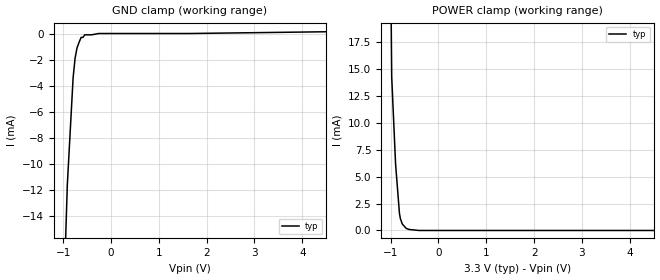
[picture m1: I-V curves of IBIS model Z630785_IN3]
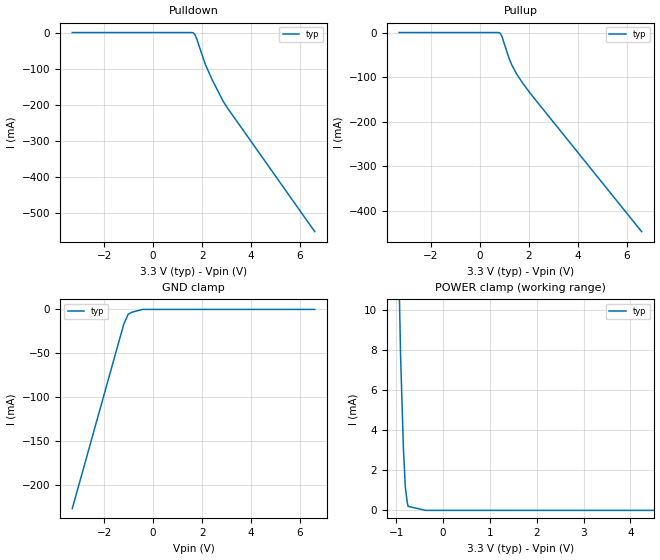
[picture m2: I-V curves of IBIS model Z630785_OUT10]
| YOU ARE ONLY AUTHORIZED TO USE THIS SOFTWARE
| ACCORDING TO LICENSOR'S LICENSE RESTRICTIONS.
[IBIS Ver] 3.1
[File Name] mc100lve310fn_33.ibs
[File Rev] 1
[Source]Derived from mc100lve210fn_33.ibs Measured and created by ICX Technology
[Date] 2/11/2004
[Copyright]
| (C) COPYRIGHT 1993-2000
| MENTOR GRAPHICS CORPORATION
| ICX STANDARD LIBRARY, ICX PROJECT MODELING,
| ICX CUSTOM MODELING, ICX VENDOR MODEL
| ALL RIGHTS RESERVED.
| THE FOLLOWING ARE TRADEMARKS OR SERVICE MARKS OF
| MENTOR GRAPHICS CORPORATION:ICX (R), ICX STANDARD
| LIBRARY(R), ICX PROJECT MODELING(R), ICX CUSTOM
| MODELING(R), qualityIBIS(TM), MODELVIEWER(TM),
| AND MODELEDITOR(TM)
| ALL COPIES OF SOFTWARE, INCLUDING BUT NOT LIMITED TO
| ANY MODIFICATIONS, ENHANCEMENTS OR DERIVATIVE WORKS,
| MUST CONTAIN ALL MENTOR GRAPHICS CORPORATION'S
| NOTICES AND LEGENDS, INCLUDING THOSE EMBEDDED IN
| SOFTWARE AND THOSE AFFIXED TO SOFTWARE MEDIUM
| AND CONTAINER, AS RECEIVED FROM MENTOR GRAPHICS
| CORPORATION.
|  ZAP Model Builder 2.8
[Component] MC100LVE310FN_33
[Manufacturer] ON
[Package]
| variable   typ   min   max
R_pkg  .083ohms NA NA
L_pkg  4.299nH NA NA
C_pkg  1.045pF NA NA
[Pin] signal_name  model_name  R_pin  L_pin C_pin
1 VCC POWER .08 3.94n .925p
2 _CLKA Z630785_IN3 .082 4.14n .995p
3 VBB POWER .084 4.354n 1.065p
4 CLKB Z630785_IN3 .084 4.354n 1.065p
5 _CLKB Z630785_IN3 .086 4.583n 1.135p
6 NC NC
7 _Q7 Z630785_OUT10 .086 4.583n 1.135p
8 VCCO POWER .08 3.94n .925p
9 Q7 Z630785_OUT10 .084 4.354n 1.065p
10 _Q6 Z630785_OUT10 .086 4.583n 1.135p
11 Q6 Z630785_OUT10 .084 4.354n 1.065p
12 _Q5 Z630785_OUT10 .086 4.583n 1.135p
13 Q5 Z630785_OUT10 .084 4.354n 1.065p
14 _Q4 Z630785_OUT10 .086 4.583n 1.135p
15 VCCO POWER .08 3.94n .925p
16 Q4 Z630785_OUT10 .084 4.354n 1.065p
17 _Q3 Z630785_OUT10 .086 4.583n 1.135p
18 Q3 Z630785_OUT10 .084 4.354n 1.065p
19 _Q2 Z630785_OUT10 .086 4.583n 1.135p
20 Q2 Z630785_OUT10 .084 4.354n 1.065p
21 _Q1 Z630785_OUT10 .086 4.583n 1.135p
22 VCCO POWER .08 3.94n .925p
23 Q1 Z630785_OUT10 .084 4.354n 1.065p
24 _Q0 Z630785_OUT10 .086 4.583n 1.135p
25 Q0 Z630785_OUT10 .084 4.354n 1.065p
26 VEE POWER .086 4.583n 1.135p
27 CLK_SEL Z630785_IN3 .082 4.14n .995p
28 CLKA Z630785_IN3 .082 4.14n .995p
[Diff Pin] inv_pin vdiff tdelay_typ tdelay_min tdelay_max
28 2 500mv NA NA NA
5 4 500mv NA NA NA
9 7 NA .05ns NA .075ns
11 10 NA .05ns NA .075ns
13 12 NA .05ns NA .075ns
16 14 NA .05ns NA .075ns
18 17 NA .05ns NA .075ns
20 19 NA .05ns NA .075ns
23 21 NA .05ns NA .075ns
25 24 NA .05ns NA .075ns
| Models and submodels in the file (2): Z630785_IN3 (Input_ECL), Z630785_OUT10 (Output_ECL)
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| (C) COPYRIGHT 1993-2000
| MENTOR GRAPHICS CORPORATION
| ICX STANDARD LIBRARY, ICX PROJECT MODELING,
| ICX CUSTOM MODELING, ICX VENDOR MODEL
| ALL RIGHTS RESERVED.
| THE FOLLOWING ARE TRADEMARKS OR SERVICE MARKS OF
| MENTOR GRAPHICS CORPORATION:ICX (R), ICX STANDARD
| LIBRARY(R), ICX PROJECT MODELING(R), ICX CUSTOM
| MODELING(R), qualityIBIS(TM), MODELVIEWER(TM),
| AND MODELEDITOR(TM)
| ALL COPIES OF SOFTWARE, INCLUDING BUT NOT LIMITED TO
| ANY MODIFICATIONS, ENHANCEMENTS OR DERIVATIVE WORKS,
| MUST CONTAIN ALL MENTOR GRAPHICS CORPORATION'S
| NOTICES AND LEGENDS, INCLUDING THOSE EMBEDDED IN
| SOFTWARE AND THOSE AFFIXED TO SOFTWARE MEDIUM
| AND CONTAINER, AS RECEIVED FROM MENTOR GRAPHICS
| CORPORATION.
| Model Application Version 1.89 2/18/99.
[Model] Z630785_IN3
Model_type Input_ECL
Vinl = 1.825V
Vinh = 2.135V
C_comp 3.000pF NA NA
| variable typ   min   max
[Voltage Range] 3.300V NA NA
[GND Clamp Reference] 0.000V NA NA
[POWER Clamp Reference] 3.300V NA NA
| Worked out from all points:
|   GND clamp passes 1 mA (typ) near -0.70 V on its own axis
|   POWER clamp passes 1 mA (typ) near -0.79 V on its own axis
[GND Clamp]
-3.3V     -370.8mA   NA         NA
-1.034V   -25.9mA    NA         NA
-912mV    -11.6mA    NA         NA
-791mV    -3.4mA     NA         NA
-750mV    -1.9mA     NA         NA
-709mV    -1.1mA     NA         NA
-669mV    -700uA     NA         NA
-623.3mV  -300uA     NA         NA
-585.2mV  -300uA     NA         NA
-547.2mV  -100uA     NA         NA
-258.5mV  0A         NA         NA
6.6V      233uA      NA         NA
[POWER Clamp]
-3.3V     954.5mA    NA         NA
-1.098V   73.77mA    NA         NA
-977mV    14.28mA    NA         NA
-896mV    6.18mA     NA         NA
-815mV    1.584mA    NA         NA
-795mV    1.085mA    NA         NA
-754mV    586.7uA    NA         NA
-673mV    190.5uA    NA         NA
-612mV    93.33uA    NA         NA
-408mV    0A         NA         NA
6.6V      0A         NA         NA
| (C) COPYRIGHT 1993-2000
| MENTOR GRAPHICS CORPORATION
| ICX STANDARD LIBRARY, ICX PROJECT MODELING,
| ICX CUSTOM MODELING, ICX VENDOR MODEL
| ALL RIGHTS RESERVED.
| THE FOLLOWING ARE TRADEMARKS OR SERVICE MARKS OF
| MENTOR GRAPHICS CORPORATION:ICX (R), ICX STANDARD
| LIBRARY(R), ICX PROJECT MODELING(R), ICX CUSTOM
| MODELING(R), qualityIBIS(TM), MODELVIEWER(TM),
| AND MODELEDITOR(TM)
| ALL COPIES OF SOFTWARE, INCLUDING BUT NOT LIMITED TO
| ANY MODIFICATIONS, ENHANCEMENTS OR DERIVATIVE WORKS,
| MUST CONTAIN ALL MENTOR GRAPHICS CORPORATION'S
| NOTICES AND LEGENDS, INCLUDING THOSE EMBEDDED IN
| SOFTWARE AND THOSE AFFIXED TO SOFTWARE MEDIUM
| AND CONTAINER, AS RECEIVED FROM MENTOR GRAPHICS
| CORPORATION.
| Model Application Version 1.89 2/18/99.
[Model] Z630785_OUT10
Model_type Output_ECL
Vref=1.300V
Rref=50.00ohms
Cref=0.000F
Vmeas=1.977V
C_comp 3.000pF NA NA
| variable typ   min   max
[Voltage Range] 3.300V NA NA
[POWER Clamp Reference] 3.300V NA NA
[Pullup Reference] 3.300V NA NA
[Pulldown Reference] 3.300V NA NA
[GND Clamp Reference] 0.000V NA NA
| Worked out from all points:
|   POWER clamp passes 1 mA (typ) near -0.80 V on its own axis
[GND Clamp]
-3.3V     -226.9mA   NA         NA
-1.196V   -16.63mA   NA         NA
-1.014V   -5.414mA   NA         NA
-872mV    -3.259mA   NA         NA
-436mV    0A         NA         NA
6.6V      0A         NA         NA
[Pulldown]
-3.3V     0A         NA         NA
1.557V    0A         NA         NA
1.618V    -400uA     NA         NA
1.638V    -800uA     NA         NA
1.699V    -4.7mA     NA         NA
1.78V     -17.3mA    NA         NA
2.124V    -86.6mA    NA         NA
2.388V    -127.4mA   NA         NA
2.854V    -189.7mA   NA         NA
3.057V    -210.8mA   NA         NA
6.6V      -551.2mA   NA         NA
[Pullup]
-3.3V     0A         NA         NA
711mV     0A         NA         NA
751mV     -100uA     NA         NA
792mV     -600uA     NA         NA
832mV     -2mA       NA         NA
893mV     -8.1mA     NA         NA
1.197V    -59.6mA    NA         NA
1.318V    -74.7mA    NA         NA
1.481V    -91.5mA    NA         NA
1.724V    -112mA     NA         NA
2.048V    -136.1mA   NA         NA
6.6V      -446.8mA   NA         NA
[POWER Clamp]
-3.3V     521.8mA    NA         NA
-1.033V   22.2mA     NA         NA
-911mV    7.8mA      NA         NA
-850mV    3.1mA      NA         NA
-810mV    1.2mA      NA         NA
-769mV    400uA      NA         NA
-749mV    200uA      NA         NA
-374.5mV  0A         NA         NA
6.6V      0A         NA         NA
[Ramp]
| variable typ min max
dV/dt_r 397.0m/212.4p NA NA
dV/dt_f 397.0m/201.1p NA NA
R_load = 50.00Ohms
